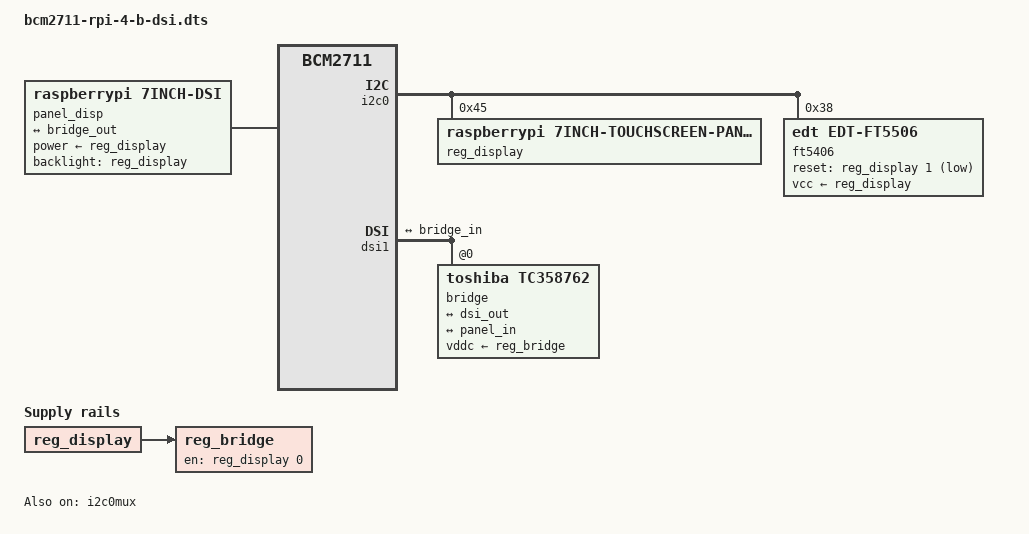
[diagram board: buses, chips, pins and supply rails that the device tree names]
#include "bcm2711-rpi-4-b.dts"

/ {
	panel_disp: panel_disp@1 {
		reg = <1>;
		compatible = "raspberrypi,7inch-dsi", "simple-panel";
		backlight = <&reg_display>;
		power-supply = <&reg_display>;
		port {
			panel_in: endpoint {
				remote-endpoint = <&bridge_out>;
			};
		};
	};

	reg_bridge: reg_bridge@1 {
		reg = <1>;
		compatible = "regulator-fixed";
		regulator-name = "bridge_reg";
		gpio = <&reg_display 0 0>;
		vin-supply = <&reg_display>;
		enable-active-high;
	};

};

&i2c0mux {
	status = "okay";
};

&i2c0 {
	status = "okay";
	reg_display: reg_display@45 {
		compatible = "raspberrypi,7inch-touchscreen-panel-regulator";
		reg = <0x45>;
		gpio-controller;
		#gpio-cells = <2>;
	};

	ft5406: ts@38 {
		compatible = "edt,edt-ft5506";
		reg = <0x38>;
		touchscreen-size-x = < 800 >;
		touchscreen-size-y = < 480 >;
		vcc-supply = <&reg_display>;
		reset-gpio = <&reg_display 1 1>;
	};
};


&dsi1 {
	status = "okay";
	port {
		dsi_out: endpoint {
			remote-endpoint = <&bridge_in>;
		};
	};
	bridge@0 {
		reg = <0>;
		compatible = "toshiba,tc358762";
		vddc-supply = <&reg_bridge>;
		ports {
			#address-cells = <1>;
			#size-cells = <0>;

			port@0 {
				reg = <0>;
				bridge_in: endpoint {
					remote-endpoint = <&dsi_out>;
				};
			};

			port@1 {
				reg = <1>;
				bridge_out: endpoint {
					remote-endpoint = <&panel_in>;
				};
			};
		};
	};
};

&hdmi0 {
    status = "disabled";
};
&hdmi1 {
    status = "disabled";
};
